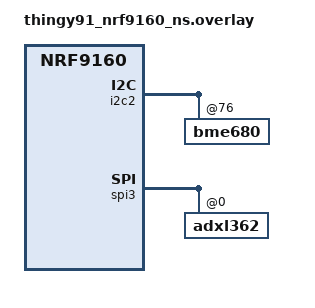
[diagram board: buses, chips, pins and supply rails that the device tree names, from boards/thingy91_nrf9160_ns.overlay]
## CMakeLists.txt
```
# Copyright 2020-2023 AVSystem <avsystem@avsystem.com>
#
# Licensed under the Apache License, Version 2.0 (the "License");
# you may not use this file except in compliance with the License.
# You may obtain a copy of the License at
#
#     http://www.apache.org/licenses/LICENSE-2.0
#
# Unless required by applicable law or agreed to in writing, software
# distributed under the License is distributed on an "AS IS" BASIS,
# WITHOUT WARRANTIES OR CONDITIONS OF ANY KIND, either express or implied.
# See the License for the specific language governing permissions and
# limitations under the License.

cmake_minimum_required(VERSION 3.13.1)

find_package(Zephyr REQUIRED HINTS $ENV{ZEPHYR_BASE})
project(anjay_zephyr_demo)
set(root_dir ${ANJAY_ZEPHYR_CLIENT_DIR})

if(CONFIG_PARTITION_MANAGER_ENABLED)
    # defined in nrf/cmake/partition_manager.cmake
    if(NOT EXISTS "${static_configuration_file}")
        set(pm_missing_message "Missing static partition manager file for board: ${BOARD}")

        if(ACTIVE_BOARD_REVISION)
            set(pm_missing_message "${pm_missing_message}, rev: ${ACTIVE_BOARD_REVISION}")
        endif()

        if(CONF_FILE_BUILD_TYPE)
            set(pm_missing_message "${pm_missing_message}, build type: ${CONF_FILE_BUILD_TYPE}")
        endif()

        message(FATAL_ERROR "${pm_missing_message}")
    endif()
elseif(CONFIG_ANJAY_CLIENT_BUILD_MCUBOOT_AUTOMATICALLY)
    if("${CONFIG_MCUBOOT_SIGNATURE_KEY_FILE}" STREQUAL "")
        if(NOT CONFIG_MCUBOOT_GENERATE_UNSIGNED_IMAGE)
            message(FATAL_ERROR "Either MCUBOOT_SIGNATURE_KEY_FILE or MCUBOOT_GENERATE_UNSIGNED_IMAGE need to be set in Kconfig")
        endif()
    else()
        set(MCUBOOT_SIGNATURE_KEY_FILE "${CONFIG_MCUBOOT_SIGNATURE_KEY_FILE}")
        if(NOT IS_ABSOLUTE "${MCUBOOT_SIGNATURE_KEY_FILE}")
            set(MCUBOOT_SIGNATURE_KEY_FILE "${WEST_TOPDIR}/${MCUBOOT_SIGNATURE_KEY_FILE}")
        endif()
    endif()
    make_directory("${CMAKE_CURRENT_BINARY_DIR}/mcuboot")
    execute_process(COMMAND "${CMAKE_COMMAND}"
                            -GNinja
                            "-DAPPLICATION_CONFIG_DIR=${CMAKE_CURRENT_SOURCE_DIR}/child_image/mcuboot"
                            "-DBOARD=${BOARD}"
                            "-DCONF_FILE=${ZEPHYR_BASE}/../bootloader/mcuboot/boot/zephyr/prj.conf"
                            "-DCONF_FILE_INCLUDE_FRAGMENTS=ON"
                            "-DCONFIG_BOOT_SIGNATURE_KEY_FILE=\"${MCUBOOT_SIGNATURE_KEY_FILE}\""
                            "-DDTC_OVERLAY_FILE=${CMAKE_CURRENT_SOURCE_DIR}/child_image/mcuboot/boards/${BOARD}.overlay"
                            "${ZEPHYR_BASE}/../bootloader/mcuboot/boot/zephyr"
                    WORKING_DIRECTORY "${CMAKE_CURRENT_BINARY_DIR}/mcuboot"
                    RESULT_VARIABLE MCUBOOT_CMAKE_RESULT)
    if(NOT MCUBOOT_CMAKE_RESULT EQUAL 0)
        message(FATAL_ERROR "Configuring MCUboot failed")
    endif()

    add_custom_target(mcuboot COMMAND "${CMAKE_COMMAND}" --build "${CMAKE_CURRENT_BINARY_DIR}/mcuboot")

    # NOTE: This is largely copied from CMakeLists.txt in Zephyr itself.
    # However, using that would require setting HEX_FILES_TO_MERGE *before*
    # find_package(Zephyr), and we can't do that because we need to examine
    # Kconfig variables, which are populated by find_package(Zephyr).
    # That's why we do it ourselves here...
    set(MERGED_HEX_NAME "${CMAKE_CURRENT_BINARY_DIR}/zephyr/merged.hex")
    # In Zephyr 3.2, mergehex.py has been moved
    # from scripts/mergehex.py to scripts/build/mergehex.py
    set(MERGEHEX_SCRIPT "${ZEPHYR_BASE}/scripts/build/mergehex.py")
    if(NOT EXISTS "${MERGEHEX_SCRIPT}")
        set(MERGEHEX_SCRIPT "${ZEPHYR_BASE}/scripts/mergehex.py")
    endif()
    add_custom_command(OUTPUT "${MERGED_HEX_NAME}"
                       COMMAND "${PYTHON_EXECUTABLE}"
                               "${MERGEHEX_SCRIPT}"
                               -o "${MERGED_HEX_NAME}"
                               "${CMAKE_CURRENT_BINARY_DIR}/mcuboot/zephyr/zephyr.hex"
                               "${CMAKE_CURRENT_BINARY_DIR}/zephyr/zephyr.signed.hex"
                       DEPENDS mcuboot zephyr_final)
    add_custom_target(mergehex ALL DEPENDS "${MERGED_HEX_NAME}")

    if(TARGET runners_yaml_props_target)
        get_target_property(RUNNERS_YAML_CONTENTS runners_yaml_props_target yaml_contents)
        string(REGEX REPLACE "zephyr[a-zA-Z0-9._-]*[.]hex" "merged.hex" RUNNERS_YAML_CONTENTS "${RUNNERS_YAML_CONTENTS}")
        set_property(TARGET runners_yaml_props_target PROPERTY yaml_contents "${RUNNERS_YAML_CONTENTS}")
    endif()
endif()

if(CONFIG_ANJAY_ZEPHYR_FACTORY_PROVISIONING_INITIAL_FLASH)
    set(app_sources
        src/factory_provisioning/factory_flash.c
        src/factory_provisioning/factory_flash.h
        src/factory_provisioning/provisioning_app.c)
else()
    set(app_sources
        src/main_app.c
        src/sensors_config.c
        src/sensors_config.h
        src/status_led.c
        src/status_led.h
        src/peripherals.h)
endif()

target_sources(app PRIVATE
               ${app_sources})
```

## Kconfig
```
menu "anjay-zephyr-client-app"

config ANJAY_CLIENT_BUILD_MCUBOOT_AUTOMATICALLY
	bool "Build MCUboot as part of the main build process"
	depends on BOOTLOADER_MCUBOOT
	depends on !PARTITION_MANAGER_ENABLED
	select MCUBOOT_GENERATE_CONFIRMED_IMAGE
	default y

endmenu

source "Kconfig.zephyr"
```

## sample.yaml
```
sample:
  name: Anjay LwM2M client
tests:
  sample.anjay_lwm2m_client:
    build_only: true
    integration_platforms:
      - nrf9160dk_nrf9160_ns
      - thingy91_nrf9160_ns
      - nrf52840dk_nrf52840
    platform_allow: nrf9160dk_nrf9160_ns thingy91_nrf9160_ns nrf52840dk_nrf52840
    tags: ci_build
```

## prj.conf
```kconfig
# Anjay Settings
CONFIG_ANJAY=y

# Anjay Zephyr Settings
CONFIG_ANJAY_ZEPHYR_SHELL=y

# General settings
CONFIG_NEWLIB_LIBC=y
CONFIG_NEWLIB_LIBC_NANO=y
CONFIG_NEWLIB_LIBC_FLOAT_PRINTF=y
CONFIG_LOG=y
CONFIG_REBOOT=y
CONFIG_FPU=y
CONFIG_PRINTK=y
CONFIG_SHELL=y

# Networking
CONFIG_NETWORKING=y
CONFIG_NET_MGMT=y
CONFIG_NET_MGMT_EVENT=y
CONFIG_NET_SOCKETS=y
CONFIG_NET_IPV4=y
CONFIG_NET_IPV6=n
CONFIG_NET_TCP=n
CONFIG_NET_LOG=y

# Logging
CONFIG_LOG_MODE_DEFERRED=y
CONFIG_LOG_BLOCK_IN_THREAD=y

# Config menu
CONFIG_HWINFO=y

# Storage
CONFIG_FLASH=y
CONFIG_FLASH_MAP=y
CONFIG_NVS=y
CONFIG_SETTINGS=y
CONFIG_FLASH_LOG_LEVEL_ERR=y
```

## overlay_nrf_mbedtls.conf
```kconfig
CONFIG_ANJAY_COMPAT_ZEPHYR_TLS=n
CONFIG_ANJAY_COMPAT_MBEDTLS=y

CONFIG_NORDIC_SECURITY_BACKEND=n
CONFIG_OBERON_BACKEND=n

CONFIG_MBEDTLS_TLS_LIBRARY=y
CONFIG_MBEDTLS_PSA_CRYPTO_EXTERNAL_RNG=n
CONFIG_MBEDTLS_ENTROPY_C=y
CONFIG_MBEDTLS_CIPHER_MODE_CBC=y
CONFIG_MBEDTLS_DHM_C=y
CONFIG_MBEDTLS_CTR_DRBG_C=y
CONFIG_MBEDTLS_ECP_C=y
CONFIG_MBEDTLS_LEGACY_CRYPTO_C=y
CONFIG_MBEDTLS_ECP_DP_SECP384R1_ENABLED=y
CONFIG_MBEDTLS_ECP_DP_SECP256R1_ENABLED=y
CONFIG_MBEDTLS_PEM_CERTIFICATE_FORMAT=y
CONFIG_ANJAY_ZEPHYR_RUNTIME_CERT_CONFIG=y
```

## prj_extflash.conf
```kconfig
# Anjay Settings
CONFIG_ANJAY=y

# Anjay Zephyr Settings
CONFIG_ANJAY_ZEPHYR_SHELL=y
CONFIG_ANJAY_ZEPHYR_FACTORY_PROVISIONING=n

# Monitoring
CONFIG_THREAD_ANALYZER=y
CONFIG_THREAD_ANALYZER_AUTO=y
CONFIG_THREAD_ANALYZER_AUTO_INTERVAL=60
CONFIG_THREAD_ANALYZER_AUTO_STACK_SIZE=1024
CONFIG_THREAD_ANALYZER_USE_LOG=y
CONFIG_THREAD_NAME=y

# General settings
CONFIG_NEWLIB_LIBC=y
CONFIG_NEWLIB_LIBC_NANO=y
CONFIG_NEWLIB_LIBC_FLOAT_PRINTF=y
CONFIG_LOG=y
CONFIG_REBOOT=y
CONFIG_FPU=y
CONFIG_PRINTK=y
CONFIG_SHELL=y

# Networking
CONFIG_NETWORKING=y
CONFIG_NET_MGMT=y
CONFIG_NET_MGMT_EVENT=y
CONFIG_NET_SOCKETS=y
CONFIG_NET_IPV4=y
CONFIG_NET_IPV6=n
CONFIG_NET_TCP=y
CONFIG_NET_LOG=y

# Logging
CONFIG_LOG_MODE_DEFERRED=y
CONFIG_LOG_BLOCK_IN_THREAD=y

# Config menu
CONFIG_HWINFO=y
CONFIG_CONSOLE_SUBSYS=y
CONFIG_CONSOLE_GETLINE=y

# Storage
CONFIG_FLASH=y
CONFIG_FLASH_MAP=y
CONFIG_NVS=y
CONFIG_SETTINGS=y
CONFIG_FLASH_LOG_LEVEL_ERR=y

# External flash
CONFIG_PM_EXTERNAL_FLASH_MCUBOOT_SECONDARY=y
```

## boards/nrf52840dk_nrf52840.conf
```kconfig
# anjay-zephyr-client
CONFIG_ANJAY_ZEPHYR_DEVICE_MANUFACTURER="Nordic Semiconductor"
CONFIG_ANJAY_ZEPHYR_MODEL_NUMBER="nRF52840DK"

# Anjay Settings
CONFIG_ANJAY_COMPAT_TIME=y
CONFIG_ANJAY_COMPAT_MBEDTLS=y
CONFIG_ANJAY_COMPAT_NET=y

# General Settings
CONFIG_MAIN_STACK_SIZE=2048
CONFIG_SYSTEM_WORKQUEUE_STACK_SIZE=2048

# Logging
CONFIG_LOG_BLOCK_IN_THREAD=y
CONFIG_LOG_MODE_DEFERRED=y

# Clock synchronization
CONFIG_DATE_TIME=y
CONFIG_DATE_TIME_AUTO_UPDATE=n

# Networking
CONFIG_NET_IPV4=n
CONFIG_NET_IPV6=y
CONFIG_NET_IPV6_NBR_CACHE=n
CONFIG_NET_IPV6_MLD=n
CONFIG_NET_CONFIG_NEED_IPV4=n
CONFIG_NET_MGMT_EVENT_INFO=y
CONFIG_NET_L2_OPENTHREAD=y

# DNS
CONFIG_DNS_RESOLVER=y
CONFIG_DNS_SERVER_IP_ADDRESSES=y
CONFIG_DNS_SERVER1="fdaa:bb:1::2"

# OpenThread
CONFIG_OPENTHREAD_JOINER=y
CONFIG_OPENTHREAD_JOINER_AUTOSTART=y
CONFIG_OPENTHREAD_MANUAL_START=y
CONFIG_OPENTHREAD_SLAAC=y
CONFIG_OPENTHREAD_JOINER_PSKD="J01NME"
CONFIG_OPENTHREAD_FTD=y

# MbedTLS and security
CONFIG_MBEDTLS=y
CONFIG_MBEDTLS_KEY_EXCHANGE_PSK_ENABLED=y
CONFIG_MBEDTLS_KEY_EXCHANGE_ECDHE_ECDSA_ENABLED=y
CONFIG_MBEDTLS_DTLS=y
CONFIG_MBEDTLS_ENTROPY_ENABLED=y

# Shell settings
CONFIG_SHELL_MINIMAL=y
CONFIG_SHELL_WILDCARD=n
CONFIG_SHELL_VT100_COMMANDS=y
CONFIG_SHELL_VT100_COLORS=n
CONFIG_SHELL_STATS=n
CONFIG_SHELL_CMDS=n
CONFIG_SHELL_TAB=y
CONFIG_SHELL_TAB_AUTOCOMPLETION=y
CONFIG_SHELL_CMDS_RESIZE=n
CONFIG_DEVICE_SHELL=n
CONFIG_DATE_SHELL=n
CONFIG_DEVMEM_SHELL=n
CONFIG_MCUBOOT_SHELL=n
CONFIG_KERNEL_SHELL=y
CONFIG_OPENTHREAD_SHELL=y
```

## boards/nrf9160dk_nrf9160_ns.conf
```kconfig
# anjay-zephyr-client
CONFIG_ANJAY_ZEPHYR_DEVICE_MANUFACTURER="Nordic Semiconductor"
CONFIG_ANJAY_ZEPHYR_MODEL_NUMBER="nRF9160DK"
CONFIG_ANJAY_ZEPHYR_GPS_NRF=y
CONFIG_ANJAY_ZEPHYR_GPS_NRF_A_GPS=y

CONFIG_ANJAY_ZEPHYR_FOTA=y

# Anjay Settings
CONFIG_ANJAY_COMPAT_ZEPHYR_TLS=y
CONFIG_ANJAY_COMPAT_NET=y
CONFIG_ANJAY_COMPAT_TIME=y
CONFIG_ANJAY_LOG_LEVEL_INF=y
CONFIG_ANJAY_WITH_NET_STATS=n
CONFIG_ANJAY_WITH_SENML_JSON=y
CONFIG_ANJAY_WITH_TRACE_LOGS=n
CONFIG_ANJAY_WITH_ACCESS_CONTROL=n

# General Settings
CONFIG_MAIN_STACK_SIZE=2048
CONFIG_SYSTEM_WORKQUEUE_STACK_SIZE=4096
CONFIG_LOG_RUNTIME_FILTERING=n
CONFIG_LOG_CMDS=n
CONFIG_LOG_MAX_LEVEL=3
CONFIG_HWINFO=n

# Networking
CONFIG_NET_NATIVE=n
CONFIG_NET_IF_MAX_IPV4_COUNT=2
CONFIG_NET_TCP_ISN_RFC6528=n
CONFIG_NET_LOG=n

# nRF LTE
CONFIG_NRF_MODEM_LIB=y
CONFIG_MODEM_INFO=y
CONFIG_LTE_LINK_CONTROL=y
CONFIG_LTE_NETWORK_MODE_LTE_M_GPS=y
CONFIG_LTE_AUTO_INIT_AND_CONNECT=n
CONFIG_LTE_NETWORK_TIMEOUT=600
CONFIG_NRF_CLOUD_AGPS=y
CONFIG_NRF_CLOUD_GPS_LOG_LEVEL_INF=y

# Clock synchronization
CONFIG_DATE_TIME=y
CONFIG_DATE_TIME_UPDATE_INTERVAL_SECONDS=600
CONFIG_DATE_TIME_TOO_OLD_SECONDS=600
CONFIG_DATE_TIME_NTP_QUERY_TIME_SECONDS=5

# File system
CONFIG_FLASH_PAGE_LAYOUT=y
CONFIG_MPU_ALLOW_FLASH_WRITE=y

# Heap
CONFIG_HEAP_MEM_POOL_SIZE=2048

# MCUboot
CONFIG_BOOTLOADER_MCUBOOT=y
CONFIG_IMG_MANAGER=y
CONFIG_IMG_ERASE_PROGRESSIVELY=y
# TODO: consider a deploy script, which will fill in the release version into config variable below
# Warning: MCUBoot's imgtool doesn't allow leading zeros in version string components, that may be a bug
CONFIG_MCUBOOT_IMAGE_VERSION="22.12.0"

# Shell settings
CONFIG_SHELL_MINIMAL=y
CONFIG_SHELL_WILDCARD=n
CONFIG_SHELL_VT100_COMMANDS=y
CONFIG_SHELL_VT100_COLORS=n
CONFIG_SHELL_STATS=n
CONFIG_SHELL_CMDS=n
CONFIG_SHELL_TAB=y
CONFIG_SHELL_TAB_AUTOCOMPLETION=y
CONFIG_SHELL_CMDS_RESIZE=n
CONFIG_DEVICE_SHELL=n
CONFIG_DATE_SHELL=n
CONFIG_DEVMEM_SHELL=n
CONFIG_MCUBOOT_SHELL=n
CONFIG_KERNEL_SHELL=y
```

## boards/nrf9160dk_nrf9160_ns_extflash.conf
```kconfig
# anjay-zephyr-client
CONFIG_ANJAY_ZEPHYR_DEVICE_MANUFACTURER="Nordic Semiconductor"
CONFIG_ANJAY_ZEPHYR_MODEL_NUMBER="nRF9160DK"
CONFIG_ANJAY_ZEPHYR_GPS_NRF=y
CONFIG_ANJAY_ZEPHYR_GPS_NRF_A_GPS=y

CONFIG_ANJAY_ZEPHYR_FOTA=y

# Anjay Settings
CONFIG_ANJAY_COMPAT_ZEPHYR_TLS=y
CONFIG_ANJAY_COMPAT_NET=y
CONFIG_ANJAY_COMPAT_TIME=y

# General Settings
CONFIG_MAIN_STACK_SIZE=2048
CONFIG_SYSTEM_WORKQUEUE_STACK_SIZE=4096

# Networking
CONFIG_NET_NATIVE=n
CONFIG_NET_IF_MAX_IPV4_COUNT=2
CONFIG_NET_TCP_ISN_RFC6528=n

# nRF LTE
CONFIG_NRF_MODEM_LIB=y
CONFIG_MODEM_INFO=y
CONFIG_LTE_LINK_CONTROL=y
CONFIG_LTE_NETWORK_MODE_LTE_M_GPS=y
CONFIG_LTE_AUTO_INIT_AND_CONNECT=n
CONFIG_LTE_NETWORK_TIMEOUT=600

# Clock synchronization
CONFIG_DATE_TIME=y
CONFIG_DATE_TIME_UPDATE_INTERVAL_SECONDS=600
CONFIG_DATE_TIME_TOO_OLD_SECONDS=600
CONFIG_DATE_TIME_NTP_QUERY_TIME_SECONDS=5

# File system
CONFIG_FLASH_PAGE_LAYOUT=y
CONFIG_MPU_ALLOW_FLASH_WRITE=y

# Heap
CONFIG_HEAP_MEM_POOL_SIZE=2048

# MCUboot
CONFIG_BOOTLOADER_MCUBOOT=y
CONFIG_IMG_MANAGER=y
CONFIG_IMG_ERASE_PROGRESSIVELY=y

# TODO: consider a deploy script, which will fill in the release version into config variable below
# Warning: MCUBoot's imgtool doesn't allow leading zeros in version string components, that may be a bug
CONFIG_MCUBOOT_IMAGE_VERSION="22.12.0"

# External flash
CONFIG_SPI=y
CONFIG_SPI_NOR=y
CONFIG_SPI_NOR_FLASH_LAYOUT_PAGE_SIZE=4096
CONFIG_SPI_NOR_SFDP_DEVICETREE=y
```

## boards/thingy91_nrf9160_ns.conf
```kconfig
# anjay-zephyr-client
CONFIG_ANJAY_ZEPHYR_DEVICE_MANUFACTURER="Nordic Semiconductor"
CONFIG_ANJAY_ZEPHYR_MODEL_NUMBER="Thingy:91"
CONFIG_ANJAY_ZEPHYR_GPS_NRF=y
CONFIG_ANJAY_ZEPHYR_GPS_NRF_A_GPS=y

CONFIG_ANJAY_ZEPHYR_FOTA=y

# Anjay Settings
CONFIG_ANJAY_COMPAT_ZEPHYR_TLS=y
CONFIG_ANJAY_COMPAT_NET=y
CONFIG_ANJAY_COMPAT_TIME=y
CONFIG_ANJAY_LOG_LEVEL_INF=y
CONFIG_ANJAY_WITH_NET_STATS=n
CONFIG_ANJAY_WITH_SENML_JSON=y
CONFIG_ANJAY_WITH_TRACE_LOGS=n
CONFIG_ANJAY_WITH_ACCESS_CONTROL=n

# I2C Settings
CONFIG_I2C_SHELL=n

# General Settings
CONFIG_MAIN_STACK_SIZE=2048
CONFIG_SYSTEM_WORKQUEUE_STACK_SIZE=4096
CONFIG_LOG_RUNTIME_FILTERING=n
CONFIG_LOG_CMDS=n
CONFIG_LOG_MAX_LEVEL=3
CONFIG_HWINFO=n

# Networking
CONFIG_NET_NATIVE=n
CONFIG_NET_IF_MAX_IPV4_COUNT=2
CONFIG_NET_TCP_ISN_RFC6528=n
CONFIG_NET_LOG=n

# nRF LTE
CONFIG_NRF_MODEM_LIB=y
CONFIG_MODEM_INFO=y
CONFIG_LTE_LINK_CONTROL=y
CONFIG_LTE_NETWORK_MODE_LTE_M_GPS=y
CONFIG_LTE_AUTO_INIT_AND_CONNECT=n
CONFIG_LTE_NETWORK_TIMEOUT=600
CONFIG_NRF_CLOUD_AGPS=y
CONFIG_NRF_CLOUD_GPS_LOG_LEVEL_INF=y

# Clock synchronization
CONFIG_DATE_TIME=y
CONFIG_DATE_TIME_UPDATE_INTERVAL_SECONDS=600
CONFIG_DATE_TIME_TOO_OLD_SECONDS=600
CONFIG_DATE_TIME_NTP_QUERY_TIME_SECONDS=5

# File system
CONFIG_FLASH_PAGE_LAYOUT=y
CONFIG_MPU_ALLOW_FLASH_WRITE=y

# Heap
CONFIG_HEAP_MEM_POOL_SIZE=2048

# Peripherals
CONFIG_I2C=y
CONFIG_PWM=y
CONFIG_SENSOR=y
CONFIG_BME680=y
CONFIG_ADXL362=y
CONFIG_ADXL362_ACCEL_ODR_12_5=y
CONFIG_ADXL362_ACCEL_RANGE_2G=y

# MCUboot
CONFIG_BOOTLOADER_MCUBOOT=y
CONFIG_IMG_MANAGER=y
CONFIG_IMG_ERASE_PROGRESSIVELY=y
# TODO: consider a deploy script, which will fill in the release version into config variable below
# Warning: MCUBoot's imgtool doesn't allow leading zeros in version string components, that may be a bug
CONFIG_MCUBOOT_IMAGE_VERSION="22.12.0"

# Shell settings
CONFIG_SHELL_MINIMAL=y
CONFIG_SHELL_WILDCARD=n
CONFIG_SHELL_VT100_COMMANDS=y
CONFIG_SHELL_VT100_COLORS=n
CONFIG_SHELL_STATS=n
CONFIG_SHELL_CMDS=n
CONFIG_SHELL_TAB=y
CONFIG_SHELL_TAB_AUTOCOMPLETION=y
CONFIG_SHELL_CMDS_RESIZE=n
CONFIG_DEVICE_SHELL=n
CONFIG_DATE_SHELL=n
CONFIG_DEVMEM_SHELL=n
CONFIG_MCUBOOT_SHELL=n
CONFIG_KERNEL_SHELL=y
```

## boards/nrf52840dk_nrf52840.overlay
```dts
/ {
    aliases {
        push-button-0 = &button0;
        push-button-1 = &button1;
        push-button-2 = &button2;
        push-button-3 = &button3;
        status-led = &led0;
    };
};
```

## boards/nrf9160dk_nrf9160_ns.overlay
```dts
/ {
    aliases {
        push-button-0 = &button0;
        push-button-1 = &button1;
        switch-0 = &button2;
        switch-1 = &button3;
        status-led = &led0;
    };
};
```

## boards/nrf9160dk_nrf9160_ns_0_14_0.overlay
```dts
/ {
    chosen {
        nordic,pm-ext-flash = &mx25r64;
    };
};
```

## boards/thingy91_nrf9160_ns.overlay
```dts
/ {
    aliases {
        temperature = &bme680;
        humidity = &bme680;
        accelerometer = &adxl362;
        barometer = &bme680;
        push-button-0 = &button0;
    };
};

&i2c2 {
    bme680: bme680@76 {};
};

&spi3 {
    adxl362: adxl362@0 {};
};
```

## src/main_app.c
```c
/*
 * Copyright 2020-2023 AVSystem <avsystem@avsystem.com>
 *
 * Licensed under the Apache License, Version 2.0 (the "License");
 * you may not use this file except in compliance with the License.
 * You may obtain a copy of the License at
 *
 *     http://www.apache.org/licenses/LICENSE-2.0
 *
 * Unless required by applicable law or agreed to in writing, software
 * distributed under the License is distributed on an "AS IS" BASIS,
 * WITHOUT WARRANTIES OR CONDITIONS OF ANY KIND, either express or implied.
 * See the License for the specific language governing permissions and
 * limitations under the License.
 */

#include <stdlib.h>

#include <zephyr/kernel.h>
#include <zephyr/logging/log.h>
#include <zephyr/logging/log_ctrl.h>

#include <anjay_zephyr/config.h>
#include <anjay_zephyr/lwm2m.h>
#include <anjay_zephyr/objects.h>

#include "sensors_config.h"
#include "peripherals.h"
#include "status_led.h"

LOG_MODULE_REGISTER(main_app);
static const anjay_dm_object_def_t **location_obj;
#if BUZZER_AVAILABLE
static const anjay_dm_object_def_t **buzzer_obj;
#endif // BUZZER_AVAILABLE
#if LED_COLOR_LIGHT_AVAILABLE
static const anjay_dm_object_def_t **led_color_light_obj;
#endif // LED_COLOR_LIGHT_AVAILABLE
#if SWITCH_AVAILABLE_ANY
static const anjay_dm_object_def_t **switch_obj;
#endif // SWITCH_AVAILABLE_ANY
static avs_sched_handle_t update_objects_handle;

#if PUSH_BUTTON_AVAILABLE_ANY
static struct anjay_zephyr_ipso_button_instance buttons[] = {
#if PUSH_BUTTON_AVAILABLE(0)
	PUSH_BUTTON_GLUE_ITEM(0),
#endif // PUSH_BUTTON_AVAILABLE(0)
#if PUSH_BUTTON_AVAILABLE(1)
	PUSH_BUTTON_GLUE_ITEM(1),
#endif // PUSH_BUTTON_AVAILABLE(1)
#if PUSH_BUTTON_AVAILABLE(2)
	PUSH_BUTTON_GLUE_ITEM(2),
#endif // PUSH_BUTTON_AVAILABLE(2)
#if PUSH_BUTTON_AVAILABLE(3)
	PUSH_BUTTON_GLUE_ITEM(3),
#endif // PUSH_BUTTON_AVAILABLE(3)
};
#endif // PUSH_BUTTON_AVAILABLE_ANY

#if SWITCH_AVAILABLE_ANY
static struct anjay_zephyr_switch_instance switches[] = {
#if SWITCH_AVAILABLE(0)
	SWITCH_BUTTON_GLUE_ITEM(0),
#endif // SWITCH_AVAILABLE(0)
#if SWITCH_AVAILABLE(1)
	SWITCH_BUTTON_GLUE_ITEM(1),
#endif // SWITCH_AVAILABLE(1)
#if SWITCH_AVAILABLE(2)
	SWITCH_BUTTON_GLUE_ITEM(2),
#endif // SWITCH_AVAILABLE(2)
};
#endif // SWITCH_AVAILABLE_ANY
struct anjay_zephyr_network_preferred_bearer_list_t anjay_zephyr_config_get_preferred_bearers(void);

static int register_objects(anjay_t *anjay)
{
	location_obj = anjay_zephyr_location_object_create();
	if (location_obj) {
		anjay_register_object(anjay, location_obj);
	}

	sensors_install(anjay);
#if PUSH_BUTTON_AVAILABLE_ANY
	anjay_zephyr_ipso_push_button_object_install(anjay, buttons, AVS_ARRAY_SIZE(buttons));
#endif // PUSH_BUTTON_AVAILABLE_ANY

#if BUZZER_AVAILABLE
	buzzer_obj = anjay_zephyr_buzzer_object_create(BUZZER_NODE);
	if (buzzer_obj) {
		anjay_register_object(anjay, buzzer_obj);
	}
#endif // BUZZER_AVAILABLE

#if LED_COLOR_LIGHT_AVAILABLE
	led_color_light_obj = anjay_zephyr_led_color_light_object_create(DEVICE_DT_GET(RGB_NODE));
	if (led_color_light_obj) {
		anjay_register_object(anjay, led_color_light_obj);
	}
#endif // LED_COLOR_LIGHT_AVAILABLE

#if SWITCH_AVAILABLE_ANY
	switch_obj = anjay_zephyr_switch_object_create(switches, AVS_ARRAY_SIZE(switches));
	if (switch_obj) {
		anjay_register_object(anjay, switch_obj);
	}
#endif // SWITCH_AVAILABLE_ANY
	return 0;
}

static void update_objects_frequent(anjay_t *anjay)
{
#if SWITCH_AVAILABLE_ANY
	anjay_zephyr_switch_object_update(anjay, switch_obj);
#endif // SWITCH_AVAILABLE_ANY
#if BUZZER_AVAILABLE
	anjay_zephyr_buzzer_object_update(anjay, buzzer_obj);
#endif // BUZZER_AVAILABLE
}

static void update_objects_periodic(anjay_t *anjay)
{
	anjay_zephyr_ipso_sensors_update(anjay);
	anjay_zephyr_location_object_update(anjay, location_obj);
}

static void update_objects(avs_sched_t *sched, const void *anjay_ptr)
{
	anjay_t *anjay = *(anjay_t *const *)anjay_ptr;

	static size_t cycle;

	update_objects_frequent(anjay);
	if (cycle % 5 == 0) {
		update_objects_periodic(anjay);
	}

	status_led_toggle();

	cycle++;
	AVS_SCHED_DELAYED(sched, &update_objects_handle,
			  avs_time_duration_from_scalar(1, AVS_TIME_S), update_objects, &anjay,
			  sizeof(anjay));
}

static int init_update_objects(anjay_t *anjay)
{
	avs_sched_t *sched = anjay_get_scheduler(anjay);

	update_objects(sched, &anjay);

	status_led_init();

	return 0;
}

static int clean_before_anjay_destroy(anjay_t *anjay)
{
	avs_sched_del(&update_objects_handle);

	return 0;
}

static int release_objects(void)
{
	anjay_zephyr_location_object_release(&location_obj);
#if SWITCH_AVAILABLE_ANY
	anjay_zephyr_switch_object_release(&switch_obj);
#endif // SWITCH_AVAILABLE_ANY
#if LED_COLOR_LIGHT_AVAILABLE
	anjay_zephyr_led_color_light_object_release(&led_color_light_obj);
#endif // LED_COLOR_LIGHT_AVAILABLE
#if BUZZER_AVAILABLE
	anjay_zephyr_buzzer_object_release(&buzzer_obj);
#endif // BUZZER_AVAILABLE
	return 0;
}

int lwm2m_callback(anjay_t *anjay, enum anjay_zephyr_lwm2m_callback_reasons reason)
{
	switch (reason) {
	case ANJAY_ZEPHYR_LWM2M_CALLBACK_REASON_INIT:
		return register_objects(anjay);
	case ANJAY_ZEPHYR_LWM2M_CALLBACK_REASON_ANJAY_READY:
		return init_update_objects(anjay);
	case ANJAY_ZEPHYR_LWM2M_CALLBACK_REASON_ANJAY_SHUTTING_DOWN:
		return clean_before_anjay_destroy(anjay);
	case ANJAY_ZEPHYR_LWM2M_CALLBACK_REASON_CLEANUP:
		return release_objects();
	default:
		return -1;
	}
}

void main(void)
{
	LOG_INF("Initializing Anjay-zephyr-client demo " CONFIG_ANJAY_ZEPHYR_VERSION);

	anjay_zephyr_lwm2m_set_user_callback(lwm2m_callback);

	anjay_zephyr_lwm2m_init_from_settings();
	anjay_zephyr_lwm2m_start();

	while (1) {
		k_sleep(K_SECONDS(1));
	}
}
```

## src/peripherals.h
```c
/*
 * Copyright 2020-2023 AVSystem <avsystem@avsystem.com>
 *
 * Licensed under the Apache License, Version 2.0 (the "License");
 * you may not use this file except in compliance with the License.
 * You may obtain a copy of the License at
 *
 *     http://www.apache.org/licenses/LICENSE-2.0
 *
 * Unless required by applicable law or agreed to in writing, software
 * distributed under the License is distributed on an "AS IS" BASIS,
 * WITHOUT WARRANTIES OR CONDITIONS OF ANY KIND, either express or implied.
 * See the License for the specific language governing permissions and
 * limitations under the License.
 */

#pragma once

#include <zephyr/devicetree.h>
#include <zephyr/drivers/gpio.h>

#define RGB_NODE DT_ALIAS(rgb_pwm)
#define LED_COLOR_LIGHT_AVAILABLE DT_NODE_HAS_STATUS(RGB_NODE, okay)

#define BUZZER_NODE DT_ALIAS(buzzer_pwm)
#define BUZZER_AVAILABLE DT_NODE_HAS_STATUS(BUZZER_NODE, okay)

#define PUSH_BUTTON_NODE(idx) DT_ALIAS(push_button_##idx)
#define PUSH_BUTTON_AVAILABLE(idx) DT_NODE_HAS_STATUS(PUSH_BUTTON_NODE(idx), okay)
#define PUSH_BUTTON_AVAILABLE_ANY                                                                  \
	(PUSH_BUTTON_AVAILABLE(0) || PUSH_BUTTON_AVAILABLE(1) || PUSH_BUTTON_AVAILABLE(2) ||       \
	 PUSH_BUTTON_AVAILABLE(3))

#define SWITCH_NODE(idx) DT_ALIAS(switch_##idx)
#define SWITCH_AVAILABLE(idx) DT_NODE_HAS_STATUS(SWITCH_NODE(idx), okay)
#define SWITCH_AVAILABLE_ANY (SWITCH_AVAILABLE(0) || SWITCH_AVAILABLE(1) || SWITCH_AVAILABLE(2))

#define PUSH_BUTTON_GLUE_ITEM(num)                                                                 \
	{                                                                                          \
		.device = DEVICE_DT_GET(DT_GPIO_CTLR(PUSH_BUTTON_NODE(num), gpios)),               \
		.gpio_pin = DT_GPIO_PIN(PUSH_BUTTON_NODE(num), gpios),                             \
		.gpio_flags = (GPIO_INPUT | DT_GPIO_FLAGS(PUSH_BUTTON_NODE(num), gpios))           \
	}

#define SWITCH_BUTTON_GLUE_ITEM(num)                                                               \
	{                                                                                          \
		.device = DEVICE_DT_GET(DT_GPIO_CTLR(SWITCH_NODE(num), gpios)),                    \
		.gpio_pin = DT_GPIO_PIN(SWITCH_NODE(num), gpios),                                  \
		.gpio_flags = (GPIO_INPUT | DT_GPIO_FLAGS(SWITCH_NODE(num), gpios))                \
	}

#define TEMPERATURE_NODE DT_ALIAS(temperature)
#define TEMPERATURE_AVAILABLE DT_NODE_HAS_STATUS(TEMPERATURE_NODE, okay)

#define HUMIDITY_NODE DT_ALIAS(humidity)
#define HUMIDITY_AVAILABLE DT_NODE_HAS_STATUS(HUMIDITY_NODE, okay)

#define BAROMETER_NODE DT_ALIAS(barometer)
#define BAROMETER_AVAILABLE DT_NODE_HAS_STATUS(BAROMETER_NODE, okay)

#define DISTANCE_NODE DT_ALIAS(distance)
#define DISTANCE_AVAILABLE DT_NODE_HAS_STATUS(DISTANCE_NODE, okay)

#define ILLUMINANCE_NODE DT_ALIAS(illuminance)
#define ILLUMINANCE_AVAILABLE DT_NODE_HAS_STATUS(ILLUMINANCE_NODE, okay)

#define ACCELEROMETER_NODE DT_ALIAS(accelerometer)
#define ACCELEROMETER_AVAILABLE DT_NODE_HAS_STATUS(ACCELEROMETER_NODE, okay)

#define GYROMETER_NODE DT_ALIAS(gyrometer)
#define GYROMETER_AVAILABLE DT_NODE_HAS_STATUS(GYROMETER_NODE, okay)

#define MAGNETOMETER_NODE DT_ALIAS(magnetometer)
#define MAGNETOMETER_AVAILABLE DT_NODE_HAS_STATUS(MAGNETOMETER_NODE, okay)
```

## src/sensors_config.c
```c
/*
 * Copyright 2020-2023 AVSystem <avsystem@avsystem.com>
 *
 * Licensed under the Apache License, Version 2.0 (the "License");
 * you may not use this file except in compliance with the License.
 * You may obtain a copy of the License at
 *
 *     http://www.apache.org/licenses/LICENSE-2.0
 *
 * Unless required by applicable law or agreed to in writing, software
 * distributed under the License is distributed on an "AS IS" BASIS,
 * WITHOUT WARRANTIES OR CONDITIONS OF ANY KIND, either express or implied.
 * See the License for the specific language governing permissions and
 * limitations under the License.
 */

#include "sensors_config.h"
#include "peripherals.h"

#define KPA_TO_PA_FACTOR 1e3
#define GAUSS_TO_TESLA_FACTOR 1e-4

static struct anjay_zephyr_ipso_sensor_context illuminance_sensor_def[] = {
#if ILLUMINANCE_AVAILABLE
	{ .name = "Illuminance",
	  .unit = "lx",
	  .device = DEVICE_DT_GET(ILLUMINANCE_NODE),
	  .channel = SENSOR_CHAN_LIGHT,
	  .min_range_value = NAN,
	  .max_range_value = NAN }
#endif // ILLUMINANCE_AVAILABLE
};

static struct anjay_zephyr_ipso_sensor_context temperature_sensor_def[] = {
#if TEMPERATURE_AVAILABLE
	{ .name = "Temperature",
	  .unit = "Cel",
	  .device = DEVICE_DT_GET(TEMPERATURE_NODE),
	  .channel = SENSOR_CHAN_AMBIENT_TEMP,
	  .min_range_value = NAN,
	  .max_range_value = NAN }
#endif // TEMPERATURE_AVAILABLE
};

static struct anjay_zephyr_ipso_sensor_context humidity_sensor_def[] = {
#if HUMIDITY_AVAILABLE
	{ .name = "Humidity",
	  .unit = "%RH",
	  .device = DEVICE_DT_GET(HUMIDITY_NODE),
	  .channel = SENSOR_CHAN_HUMIDITY,
	  .min_range_value = NAN,
	  .max_range_value = NAN }
#endif // HUMIDITY_AVAILABLE
};

static struct anjay_zephyr_ipso_sensor_context acceleration_sensor_def[] = {
#if ACCELEROMETER_AVAILABLE
	{ .name = "Accelerometer",
	  .unit = "m/s2",
	  .device = DEVICE_DT_GET(ACCELEROMETER_NODE),
	  .channel = SENSOR_CHAN_ACCEL_XYZ,
	  .use_y_value = true,
	  .use_z_value = true,
	  .min_range_value = NAN,
	  .max_range_value = NAN }
#endif // ACCELEROMETER_AVAILABLE
};

static struct anjay_zephyr_ipso_sensor_context magnetic_field_sensor_def[] = {
#if MAGNETOMETER_AVAILABLE
	{ .name = "Magnetometer",
	  .unit = "T",
	  .device = DEVICE_DT_GET(MAGNETOMETER_NODE),
	  .channel = SENSOR_CHAN_MAGN_XYZ,
	  .scale_factor = GAUSS_TO_TESLA_FACTOR,
	  .use_y_value = true,
	  .use_z_value = true,
	  .min_range_value = NAN,
	  .max_range_value = NAN }
#endif // MAGNETOMETER_AVAILABLE
};

static struct anjay_zephyr_ipso_sensor_context pressure_sensor_def[] = {
#if BAROMETER_AVAILABLE
	{ .name = "Barometer",
	  .unit = "Pa",
	  .device = DEVICE_DT_GET(BAROMETER_NODE),
	  .channel = SENSOR_CHAN_PRESS,
	  .scale_factor = KPA_TO_PA_FACTOR,
	  .min_range_value = NAN,
	  .max_range_value = NAN }
#endif // BAROMETER_AVAILABLE
};

static struct anjay_zephyr_ipso_sensor_context distance_sensor_def[] = {
#if DISTANCE_AVAILABLE
	{ .name = "Distance",
	  .unit = "m",
	  .device = DEVICE_DT_GET(DISTANCE_NODE),
	  .channel = SENSOR_CHAN_DISTANCE,
	  .min_range_value = NAN,
	  .max_range_value = NAN }
#endif // DISTANCE_AVAILABLE
};

static struct anjay_zephyr_ipso_sensor_context angular_rate_sensor_def[] = {
#if GYROMETER_AVAILABLE
	{ .name = "Gyrometer",
	  .unit = "deg/s",
	  .device = DEVICE_DT_GET(GYROMETER_NODE),
	  .channel = SENSOR_CHAN_GYRO_XYZ,
	  .use_y_value = true,
	  .use_z_value = true,
	  .min_range_value = NAN,
	  .max_range_value = NAN }
#endif // GYROMETER_AVAILABLE
};

static struct anjay_zephyr_ipso_sensor_oid_set sensors_basic_oid_def[] = {
	{ .user_sensors = illuminance_sensor_def,
	  .oid = 3301,
	  .user_sensors_array_length = AVS_ARRAY_SIZE(illuminance_sensor_def) },
	{ .user_sensors = temperature_sensor_def,
	  .oid = 3303,
	  .user_sensors_array_length = AVS_ARRAY_SIZE(temperature_sensor_def) },
	{ .user_sensors = humidity_sensor_def,
	  .oid = 3304,
	  .user_sensors_array_length = AVS_ARRAY_SIZE(humidity_sensor_def) },
	{ .user_sensors = pressure_sensor_def,
	  .oid = 3315,
	  .user_sensors_array_length = AVS_ARRAY_SIZE(pressure_sensor_def) },
	{ .user_sensors = distance_sensor_def,
	  .oid = 3330,
	  .user_sensors_array_length = AVS_ARRAY_SIZE(distance_sensor_def) }
};

static struct anjay_zephyr_ipso_sensor_oid_set sensors_3d_oid_def[] = {
	{ .user_sensors = acceleration_sensor_def,
	  .oid = 3313,
	  .user_sensors_array_length = AVS_ARRAY_SIZE(acceleration_sensor_def) },
	{ .user_sensors = magnetic_field_sensor_def,
	  .oid = 3314,
	  .user_sensors_array_length = AVS_ARRAY_SIZE(magnetic_field_sensor_def) },
	{ .user_sensors = angular_rate_sensor_def,
	  .oid = 3334,
	  .user_sensors_array_length = AVS_ARRAY_SIZE(angular_rate_sensor_def) }
};

void sensors_install(anjay_t *anjay)
{
	anjay_zephyr_ipso_basic_sensors_install(anjay, sensors_basic_oid_def,
						AVS_ARRAY_SIZE(sensors_basic_oid_def));
	anjay_zephyr_ipso_three_axis_sensors_install(anjay, sensors_3d_oid_def,
						     AVS_ARRAY_SIZE(sensors_3d_oid_def));
}
```

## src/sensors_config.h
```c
/*
 * Copyright 2020-2023 AVSystem <avsystem@avsystem.com>
 *
 * Licensed under the Apache License, Version 2.0 (the "License");
 * you may not use this file except in compliance with the License.
 * You may obtain a copy of the License at
 *
 *     http://www.apache.org/licenses/LICENSE-2.0
 *
 * Unless required by applicable law or agreed to in writing, software
 * distributed under the License is distributed on an "AS IS" BASIS,
 * WITHOUT WARRANTIES OR CONDITIONS OF ANY KIND, either express or implied.
 * See the License for the specific language governing permissions and
 * limitations under the License.
 */

#pragma once

#include <anjay_zephyr/ipso_objects.h>

void sensors_install(anjay_t *anjay);
```

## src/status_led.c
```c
/*
 * Copyright 2020-2023 AVSystem <avsystem@avsystem.com>
 *
 * Licensed under the Apache License, Version 2.0 (the "License");
 * you may not use this file except in compliance with the License.
 * You may obtain a copy of the License at
 *
 *     http://www.apache.org/licenses/LICENSE-2.0
 *
 * Unless required by applicable law or agreed to in writing, software
 * distributed under the License is distributed on an "AS IS" BASIS,
 * WITHOUT WARRANTIES OR CONDITIONS OF ANY KIND, either express or implied.
 * See the License for the specific language governing permissions and
 * limitations under the License.
 */

#include "status_led.h"

#include <zephyr/devicetree.h>
#include <zephyr/drivers/gpio.h>
#include <zephyr/logging/log.h>

LOG_MODULE_REGISTER(status_led);

#if STATUS_LED_AVAILABLE
#define STATUS_LED_GPIO_PORT DT_GPIO_CTLR(STATUS_LED_NODE, gpios)
#define STATUS_LED_GPIO_PIN DT_GPIO_PIN(STATUS_LED_NODE, gpios)
#define STATUS_LED_GPIO_FLAGS (GPIO_OUTPUT_INACTIVE | DT_GPIO_FLAGS(STATUS_LED_NODE, gpios))

static const struct device *status_led_device = DEVICE_DT_GET(STATUS_LED_GPIO_PORT);

void status_led_init(void)
{
	if (!device_is_ready(status_led_device) ||
	    gpio_pin_configure(status_led_device, STATUS_LED_GPIO_PIN, STATUS_LED_GPIO_FLAGS)) {
		status_led_device = NULL;
		LOG_WRN("failed to initialize status led");
	}
}

static void status_led_set(int value)
{
	if (status_led_device) {
		gpio_pin_set(status_led_device, STATUS_LED_GPIO_PIN, value);
	}
}

void status_led_on(void)
{
	status_led_set(1);
}

void status_led_off(void)
{
	status_led_set(0);
}

void status_led_toggle(void)
{
	if (status_led_device) {
		gpio_pin_toggle(status_led_device, STATUS_LED_GPIO_PIN);
	}
}
#else // STATUS_LED_AVAILABLE
void status_led_init(void)
{
}

void status_led_on(void)
{
}

void status_led_off(void)
{
}

void status_led_toggle(void)
{
}
#endif // STATUS_LED_AVAILABLE
```

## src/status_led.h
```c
/*
 * Copyright 2020-2023 AVSystem <avsystem@avsystem.com>
 *
 * Licensed under the Apache License, Version 2.0 (the "License");
 * you may not use this file except in compliance with the License.
 * You may obtain a copy of the License at
 *
 *     http://www.apache.org/licenses/LICENSE-2.0
 *
 * Unless required by applicable law or agreed to in writing, software
 * distributed under the License is distributed on an "AS IS" BASIS,
 * WITHOUT WARRANTIES OR CONDITIONS OF ANY KIND, either express or implied.
 * See the License for the specific language governing permissions and
 * limitations under the License.
 */

#pragma once

#include <zephyr/devicetree.h>

#define STATUS_LED_NODE DT_ALIAS(status_led)
#define STATUS_LED_AVAILABLE DT_NODE_HAS_STATUS(STATUS_LED_NODE, okay)

void status_led_init(void);

void status_led_on(void);

void status_led_off(void);

void status_led_toggle(void);
```
